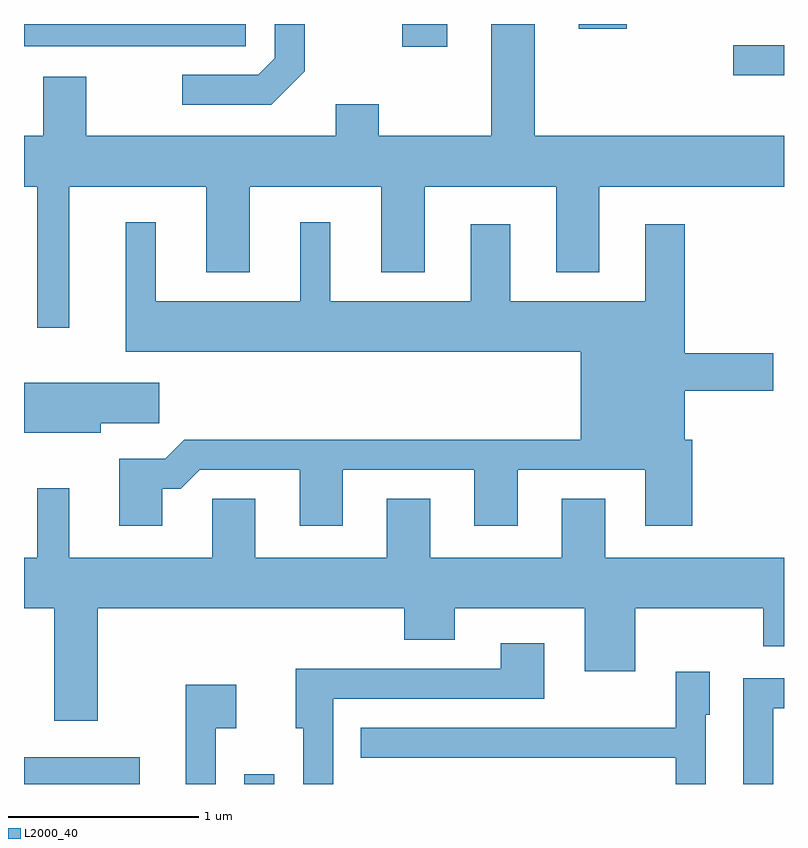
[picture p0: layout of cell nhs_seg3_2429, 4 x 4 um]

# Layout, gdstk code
import gdstk
lib = gdstk.Library(unit=1e-6, precision=1e-09)
def R(c, l, rs):  # rectangles x0, y0, x1, y1
    for r in rs: c.add(gdstk.rectangle(r[:2], r[2:], *l))
def P(c, l, *ps):  # polygons
    for p in ps: c.add(gdstk.Polygon(p, *l))
L2000_40 = (2000, 40)

nhs_seg3_2429 = lib.new_cell('nhs_seg3_2429')
R(nhs_seg3_2429, L2000_40, [(255.611,1213.892,256.219,1214.034), (256.771,1213.892,256.929,1213.943), (259.343,1217.621,259.611,1217.779), (257.603,1217.771,257.839,1217.892), (255.611,1217.776,256.779,1217.892), (258.531,1217.866,258.784,1217.892)])
P(nhs_seg3_2429, L2000_40, [(257.089,1217.644),(257.089,1217.892),(256.931,1217.892),(256.931,1217.712),(256.844,1217.624),(256.443,1217.624),(256.443,1217.466),(256.912,1217.466)],
  [(257.491,1216.586),(257.719,1216.586),(257.719,1217.036),(258.411,1217.036),(258.411,1216.586),(258.639,1216.586),(258.639,1217.036),(259.611,1217.036),(259.611,1217.304),(258.299,1217.304),(258.299,1217.892),(258.071,1217.892),(258.071,1217.304),(257.479,1217.304),(257.479,1217.469),(257.251,1217.469),(257.251,1217.304),(255.939,1217.304),(255.939,1217.614),(255.711,1217.614),(255.711,1217.304),(255.611,1217.304),(255.611,1217.036),(255.681,1217.036),(255.681,1216.293),(255.849,1216.293),(255.849,1217.036),(256.571,1217.036),(256.571,1216.586),(256.799,1216.586),(256.799,1217.036),(257.491,1217.036)],
  [(256.339,1215.446),(256.437,1215.446),(256.537,1215.546),(257.061,1215.546),(257.061,1215.251),(257.289,1215.251),(257.289,1215.546),(257.981,1215.546),(257.981,1215.251),(258.209,1215.251),(258.209,1215.546),(258.881,1215.546),(258.881,1215.251),(259.129,1215.251),(259.129,1215.704),(259.089,1215.704),(259.089,1215.961),(259.554,1215.961),(259.554,1216.159),(259.089,1216.159),(259.089,1216.839),(258.881,1216.839),(258.881,1216.434),(258.169,1216.434),(258.169,1216.839),(257.961,1216.839),(257.961,1216.434),(257.224,1216.434),(257.224,1216.848),(257.066,1216.848),(257.066,1216.434),(256.304,1216.434),(256.304,1216.848),(256.146,1216.848),(256.146,1216.166),(258.541,1216.166),(258.541,1215.704),(256.454,1215.704),(256.354,1215.604),(256.111,1215.604),(256.111,1215.251),(256.339,1215.251)],
  [(256.014,1215.791),(256.324,1215.791),(256.324,1216.004),(255.611,1216.004),(255.611,1215.741),(256.014,1215.741)],
  [(255.999,1214.816),(257.611,1214.816),(257.611,1214.651),(257.879,1214.651),(257.879,1214.816),(258.561,1214.816),(258.561,1214.486),(258.829,1214.486),(258.829,1214.816),(259.501,1214.816),(259.501,1214.616),(259.611,1214.616),(259.611,1215.084),(258.669,1215.084),(258.669,1215.394),(258.441,1215.394),(258.441,1215.084),(257.749,1215.084),(257.749,1215.394),(257.521,1215.394),(257.521,1215.084),(256.829,1215.084),(256.829,1215.394),(256.601,1215.394),(256.601,1215.084),(255.849,1215.084),(255.849,1215.448),(255.681,1215.448),(255.681,1215.084),(255.611,1215.084),(255.611,1214.816),(255.771,1214.816),(255.771,1214.226),(255.999,1214.226)],
  [(257.239,1214.341),(258.349,1214.341),(258.349,1214.634),(258.121,1214.634),(258.121,1214.499),(257.041,1214.499),(257.041,1214.186),(257.081,1214.186),(257.081,1213.892),(257.239,1213.892)],
  [(259.199,1214.256),(259.219,1214.256),(259.219,1214.484),(259.041,1214.484),(259.041,1214.189),(257.383,1214.189),(257.383,1214.031),(259.041,1214.031),(259.041,1213.892),(259.199,1213.892)],
  [(259.554,1214.291),(259.611,1214.291),(259.611,1214.449),(259.396,1214.449),(259.396,1213.892),(259.554,1213.892)],
  [(256.619,1214.186),(256.729,1214.186),(256.729,1214.414),(256.461,1214.414),(256.461,1213.892),(256.619,1213.892)])

lib.write_gds('nhs_seg3_2429.gds')
